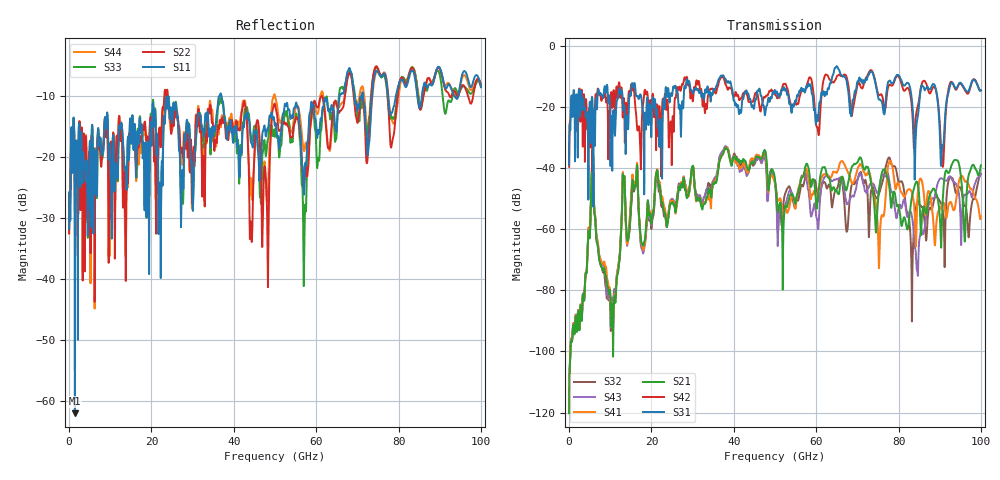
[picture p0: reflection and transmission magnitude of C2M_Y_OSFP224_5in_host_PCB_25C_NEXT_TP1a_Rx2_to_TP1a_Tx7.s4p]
# GHz S RI R 45
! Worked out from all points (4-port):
!   4000 points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, 25 MHz to 100 GHz, reference 45 ohm
!   strongest paths, dB at 25 MHz, 25.02 GHz, 50.02 GHz, 75.03 GHz, 100 GHz:
!     S31: -38.9, -16.4, -14.6, -16.8, -14.7
!     S42: -39.6, -29.2, -16.0, -15.6, -14.6
!     S21: -120.2, -51.2, -43.9, -50.6, -39.1
!     S41: -119.8, -50.7, -44.8, -61.2, -55.7
!     S43: -119.5, -50.1, -45.3, -48.0, -41.8
!     S32: -119.9, -50.3, -44.8, -49.1, -42.0
!   lowest |S11| = -62.0 dB at 1.425 GHz (marker M1), VSWR 1.00, Z = 45.1 + j0.0136 ohm
!   |S11| at or under -10 dB: start of sweep to 36.61 GHz; 37 GHz to 65.72 GHz (28.72 GHz wide, 55.9 % of centre); 71.36 GHz to 73.59 GHz (2.226 GHz wide, 3.07 % of centre) (the widest 3 of 7)
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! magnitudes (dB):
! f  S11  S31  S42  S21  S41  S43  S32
! 25 MHz  -31.8  -38.9  -39.6  -120.2  -119.8  -119.5  -119.9
! 1.425 GHz  -62.0  -30.7  -21.4  -92.7  -92.3  -92.0  -92.4
! 5.725 GHz  -16.5  -19.2  -40.3  -35.7  -35.6  -35.7  -35.9
! 10.88 GHz  -19.2  -21.8  -14.6  -84.7  -83.0  -80.4  -82.1
! 38.17 GHz  -16.0  -11.5  -13.0  -33.4  -33.2  -33.0  -33.2
! 84.42 GHz  -9.2  -25.1  -21.3  -44.4  -55.3  -73.2  -51.4
! 100 GHz  -8.6  -14.7  -14.6  -39.1  -55.7  -41.8  -42.0
